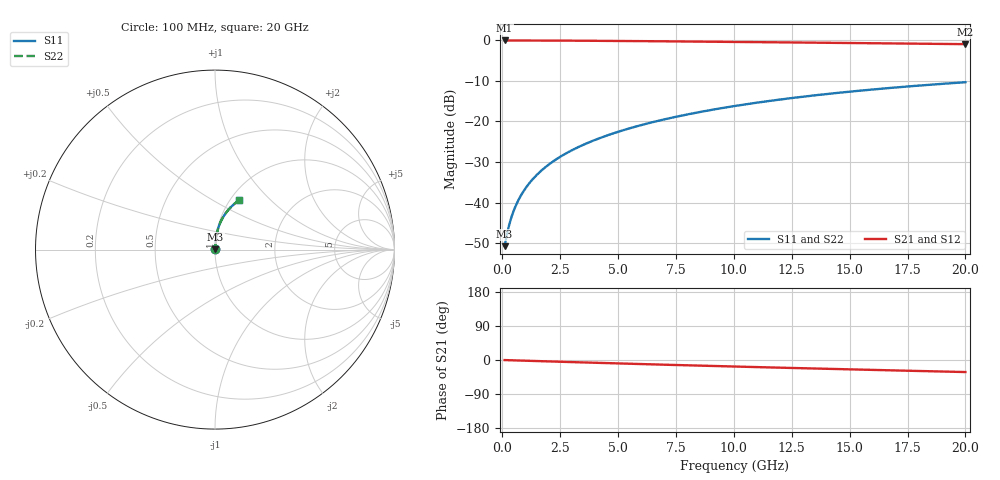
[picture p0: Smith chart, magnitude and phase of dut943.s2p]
! Touchstone file exported from HFSS 2024.1.0
!  File:  C:/UserFiles/LocalFiles/RDL_TSV_Batchsim/temp_RDL_bottom_943_1779941908.aedt
!  Generated:  12:20:46 PM May 28, 2026
!  Design:  RDL_bottom
!  Project:  temp_RDL_bottom_943_1779941908
!  Setup:  Setup1
!  Solution:  Sweep
! Variables:
!  dtsv = 10.80580581um
!  hbump = 3um
!  htsv = 52.98um
!  ldown = 458.96um
!  lrdl = 100um
!  p = 40
!  p1 = 42.53um
!  rhole = 1um
!  t = 450um
!  tdown = 3.77um
!  trdl = 3.915915916um
!  wdown = 19.28um
!  wrdl = 20um
# GHz S MA R 50.000000
! Terminal data exported
! Port[1] = RDL1_T1
! Port[2] = RDL1_T2
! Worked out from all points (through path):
!   200 points, 100 MHz to 20 GHz, reference 50 ohm
!   highest |S21| = -0.02 dB at 100 MHz (marker M1); lowest = -0.9 dB at 20 GHz (marker M2)
!   group delay of S21, straight-line fit = 4.38 ps
!   lowest |S11| = -50.8 dB at 100 MHz (marker M3), VSWR 1.01, Z = 50.2 + j0.161 ohm
!   |S11| at or under -10 dB: start of sweep to end of sweep
!   |S22| runs from -50.8 to -10.3 dB; largest |S21 - S12| = 2.6e-15
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0.1  0.002897 33.6  0.9976 -0.2  0.9976 -0.2  0.002897 33.6
! Gamma 0 0 0 0
! Port Impedance 50 0 50 0
0.2  0.004036 51.4  0.9975 -0.4  0.9975 -0.4  0.004036 51.4
0.3  0.005337 60.4  0.9973 -0.6  0.9973 -0.6  0.005337 60.4
0.4  0.006676 65.8  0.9972 -0.8  0.9972 -0.8  0.006676 65.8
0.5  0.008029 69.5  0.997 -1.0  0.997 -1.0  0.008029 69.5
0.6  0.009394 72.1  0.9969 -1.1  0.9969 -1.1  0.009394 72.1
0.8  0.01216 75.8  0.9967 -1.5  0.9967 -1.5  0.01216 75.8
1.1  0.01637 79.1  0.9963 -2.1  0.9963 -2.1  0.01637 79.1
1.3  0.01922 80.4  0.996 -2.4  0.996 -2.4  0.01922 80.4
1.6  0.02352 81.9  0.9954 -3.0  0.9954 -3.0  0.02352 81.9
2.1  0.03078 83.3  0.9943 -3.9  0.9943 -3.9  0.03078 83.3
2.7  0.0396 84.1  0.9927 -5.0  0.9927 -5.0  0.0396 84.1
3.5  0.05155 84.5  0.99 -6.4  0.99 -6.4  0.05156 84.5
4.2  0.06219 84.5  0.9872 -7.7  0.9872 -7.7  0.06219 84.5
5  0.07453 84.1  0.9837 -9.1  0.9837 -9.1  0.07454 84.1
5.9  0.08864 83.5  0.9793 -10.6  0.9793 -10.6  0.08865 83.5
6.8  0.1029 82.7  0.9747 -12.1  0.9747 -12.1  0.103 82.7
8.4  0.1286 80.9  0.9661 -14.7  0.9661 -14.7  0.1287 80.9
10.1  0.1561 78.7  0.9566 -17.4  0.9566 -17.4  0.1561 78.7
13.4  0.2084 73.9  0.9376 -22.4  0.9376 -22.4  0.2085 73.9
16.7  0.2583 68.9  0.9181 -27.2  0.9181 -27.2  0.2584 69.0
20  0.3047 64.1  0.8983 -31.8  0.8983 -31.8  0.3048 64.1
